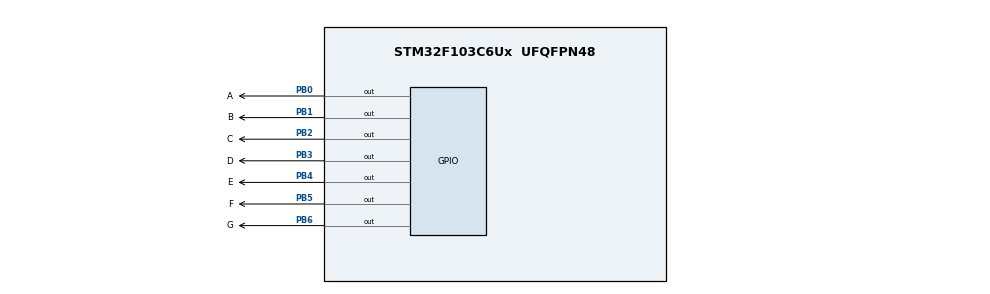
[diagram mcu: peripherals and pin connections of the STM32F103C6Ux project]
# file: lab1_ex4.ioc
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Mcu.Family=STM32F1
Mcu.Name=STM32F103C6Ux
Mcu.Package=UFQFPN48
NVIC.PriorityGroup=NVIC_PRIORITYGROUP_4
PB0.GPIO_Label=A
PB0.Signal=GPIO_Output
PB1.GPIO_Label=B
PB1.Signal=GPIO_Output
PB2.GPIO_Label=C
PB2.Signal=GPIO_Output
PB3.GPIO_Label=D
PB3.Signal=GPIO_Output
PB4.GPIO_Label=E
PB4.Signal=GPIO_Output
PB5.GPIO_Label=F
PB5.Signal=GPIO_Output
PB6.GPIO_Label=G
PB6.Signal=GPIO_Output
ProjectManager.HeapSize=0x200
ProjectManager.StackSize=0x400
ProjectManager.TargetToolchain=STM32CubeIDE
RCC.APB1Freq_Value=8000000
RCC.APB2Freq_Value=8000000
VP_SYS_VS_ND.Mode=No_Debug
board=custom

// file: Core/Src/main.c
/* USER CODE BEGIN Header */
/**
  ******************************************************************************
  * @file           : main.c
  * @brief          : Main program body
  ******************************************************************************
  * @attention
  *
  * <h2><center>&copy; Copyright (c) 2023 STMicroelectronics.
  * All rights reserved.</center></h2>
  *
  * This software component is licensed by ST under BSD 3-Clause license,
  * the "License"; You may not use this file except in compliance with the
  * License. You may obtain a copy of the License at:
  *                        opensource.org/licenses/BSD-3-Clause
  *
  ******************************************************************************
  */
/* USER CODE END Header */
#include "main.h"

void SystemClock_Config(void);
static void MX_GPIO_Init(void);
/* USER CODE BEGIN PFP */

void display7SEG(int num);

/* USER CODE END PFP */

int main(void)
{

  /* MCU Configuration--------------------------------------------------------*/

  /* Reset of all peripherals, Initializes the Flash interface and the Systick. */
  HAL_Init();

  /* Configure the system clock */
  SystemClock_Config();

  /* Initialize all configured peripherals */
  MX_GPIO_Init();

  /* Infinite loop */
  /* USER CODE BEGIN WHILE */
  HAL_GPIO_TogglePin(E_GPIO_Port, E_Pin);
  int counter = 0;
  while (1)
  {
    /* USER CODE END WHILE */
	  if(counter >= 10) counter = 0;
	  	  display7SEG(counter++);
	  	  HAL_Delay(1000);
  }
}

void SystemClock_Config(void)
{
  RCC_OscInitTypeDef RCC_OscInitStruct = {0};
  RCC_ClkInitTypeDef RCC_ClkInitStruct = {0};

  /** Initializes the RCC Oscillators according to the specified parameters
  * in the RCC_OscInitTypeDef structure.
  */
  RCC_OscInitStruct.OscillatorType = RCC_OSCILLATORTYPE_HSI;
  RCC_OscInitStruct.HSIState = RCC_HSI_ON;
  RCC_OscInitStruct.HSICalibrationValue = RCC_HSICALIBRATION_DEFAULT;
  RCC_OscInitStruct.PLL.PLLState = RCC_PLL_NONE;
  if (HAL_RCC_OscConfig(&RCC_OscInitStruct) != HAL_OK)
  {
    Error_Handler();
  }
  /** Initializes the CPU, AHB and APB buses clocks
  */
  RCC_ClkInitStruct.ClockType = RCC_CLOCKTYPE_HCLK|RCC_CLOCKTYPE_SYSCLK
                              |RCC_CLOCKTYPE_PCLK1|RCC_CLOCKTYPE_PCLK2;
  RCC_ClkInitStruct.SYSCLKSource = RCC_SYSCLKSOURCE_HSI;
  RCC_ClkInitStruct.AHBCLKDivider = RCC_SYSCLK_DIV1;
  RCC_ClkInitStruct.APB1CLKDivider = RCC_HCLK_DIV1;
  RCC_ClkInitStruct.APB2CLKDivider = RCC_HCLK_DIV1;

  if (HAL_RCC_ClockConfig(&RCC_ClkInitStruct, FLASH_LATENCY_0) != HAL_OK)
  {
    Error_Handler();
  }
}

static void MX_GPIO_Init(void)
{
  GPIO_InitTypeDef GPIO_InitStruct = {0};

  /* GPIO Ports Clock Enable */
  __HAL_RCC_GPIOB_CLK_ENABLE();

  /*Configure GPIO pin Output Level */
  HAL_GPIO_WritePin(GPIOB, A_Pin|B_Pin|C_Pin|D_Pin
                          |E_Pin|F_Pin|G_Pin, GPIO_PIN_RESET);

  /*Configure GPIO pins : A_Pin B_Pin C_Pin D_Pin
                           E_Pin F_Pin G_Pin */
  GPIO_InitStruct.Pin = A_Pin|B_Pin|C_Pin|D_Pin
                          |E_Pin|F_Pin|G_Pin;
  GPIO_InitStruct.Mode = GPIO_MODE_OUTPUT_PP;
  GPIO_InitStruct.Pull = GPIO_NOPULL;
  GPIO_InitStruct.Speed = GPIO_SPEED_FREQ_LOW;
  HAL_GPIO_Init(GPIOB, &GPIO_InitStruct);

}

/* USER CODE BEGIN 4 */
void display7SEG(int num){
	switch(num){
		case 0:
			HAL_GPIO_TogglePin(E_GPIO_Port, E_Pin);
			HAL_GPIO_TogglePin(G_GPIO_Port, G_Pin);
			break;
		case 1:
			HAL_GPIO_TogglePin(A_GPIO_Port, A_Pin);
			HAL_GPIO_TogglePin(D_GPIO_Port, D_Pin);
			HAL_GPIO_TogglePin(E_GPIO_Port, E_Pin);
			HAL_GPIO_TogglePin(F_GPIO_Port, F_Pin);
			break;
		case 2:
			HAL_GPIO_TogglePin(A_GPIO_Port, A_Pin);
			HAL_GPIO_TogglePin(C_GPIO_Port, C_Pin);
			HAL_GPIO_TogglePin(D_GPIO_Port, D_Pin);
			HAL_GPIO_TogglePin(E_GPIO_Port, E_Pin);
			HAL_GPIO_TogglePin(G_GPIO_Port, G_Pin);
			break;
		case 3:
			HAL_GPIO_TogglePin(C_GPIO_Port, C_Pin);
			HAL_GPIO_TogglePin(E_GPIO_Port, E_Pin);
			break;
		case 4:
			HAL_GPIO_TogglePin(A_GPIO_Port, A_Pin);
			HAL_GPIO_TogglePin(D_GPIO_Port, D_Pin);
			HAL_GPIO_TogglePin(F_GPIO_Port, F_Pin);
			break;
		case 5:
			HAL_GPIO_TogglePin(A_GPIO_Port, A_Pin);
			HAL_GPIO_TogglePin(B_GPIO_Port, B_Pin);
			HAL_GPIO_TogglePin(D_GPIO_Port, D_Pin);
			break;
		case 6:
			HAL_GPIO_TogglePin(E_GPIO_Port, E_Pin);
			break;
		case 7:
			HAL_GPIO_TogglePin(B_GPIO_Port, B_Pin);
			HAL_GPIO_TogglePin(D_GPIO_Port, D_Pin);
			HAL_GPIO_TogglePin(E_GPIO_Port, E_Pin);
			HAL_GPIO_TogglePin(F_GPIO_Port, F_Pin);
			HAL_GPIO_TogglePin(G_GPIO_Port, G_Pin);
			break;
		case 8:
			HAL_GPIO_TogglePin(D_GPIO_Port, D_Pin);
			HAL_GPIO_TogglePin(E_GPIO_Port, E_Pin);
			HAL_GPIO_TogglePin(F_GPIO_Port, F_Pin);
			HAL_GPIO_TogglePin(G_GPIO_Port, G_Pin);
			break;
		case 9:
			HAL_GPIO_TogglePin(E_GPIO_Port, E_Pin);
			break;
		default:
			break;
	}
}

/* USER CODE END 4 */

void Error_Handler(void)
{
  __disable_irq();
  while (1)
  {
  }
}

/************************ (C) COPYRIGHT STMicroelectronics *****END OF FILE****/
